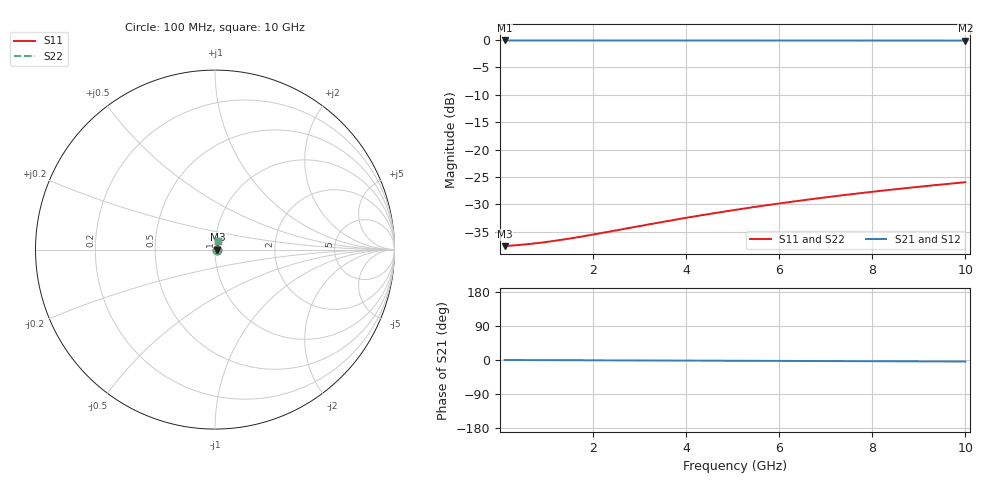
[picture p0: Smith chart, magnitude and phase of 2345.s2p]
# Hz S RI R 50.00
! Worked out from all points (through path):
!   100 points, 100 MHz to 10 GHz, reference 50 ohm
!   highest |S21| = -0.12 dB at 100 MHz (marker M1); lowest = -0.1 dB at 10 GHz (marker M2)
!   lowest |S11| = -37.6 dB at 100 MHz (marker M3), VSWR 1.03, Z = 51.3 + j0.0488 ohm
!   |S11| at or under -10 dB: start of sweep to end of sweep
!   |S22| runs from -37.6 to -26.0 dB; largest |S21 - S12| = 0
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1e8  0.0132 0.000475  0.9868 -0.000693  0.9868 -0.000693  0.0132 0.000475
5e8  0.0134 0.00237  0.9866 -0.00346  0.9866 -0.00346  0.0134 0.00237
7e8  0.0135 0.00332  0.9865 -0.00485  0.9865 -0.00485  0.0135 0.00332
9e8  0.0135 0.00427  0.9864 -0.00623  0.9864 -0.00623  0.0135 0.00427
1.1e9  0.0136 0.00522  0.9864 -0.00762  0.9864 -0.00762  0.0136 0.00522
1.3e9  0.0137 0.00617  0.9863 -0.009  0.9863 -0.009  0.0137 0.00617
1.5e9  0.0137 0.00712  0.9863 -0.0104  0.9863 -0.0104  0.0137 0.00712
1.8e9  0.0138 0.00854  0.9862 -0.0125  0.9862 -0.0125  0.0138 0.00854
2.2e9  0.0139 0.0104  0.9861 -0.0152  0.9861 -0.0152  0.0139 0.0104
3.4e9  0.0143 0.0161  0.9857 -0.0235  0.9857 -0.0235  0.0143 0.0161
3.9e9  0.0144 0.0185  0.9855 -0.027  0.9855 -0.027  0.0144 0.0185
4.3e9  0.0146 0.0204  0.9854 -0.0297  0.9854 -0.0297  0.0146 0.0204
4.7e9  0.0147 0.0223  0.9852 -0.0325  0.9852 -0.0325  0.0147 0.0223
5.1e9  0.0149 0.0242  0.985 -0.0353  0.985 -0.0353  0.0149 0.0242
5.5e9  0.0151 0.026  0.9849 -0.038  0.9849 -0.038  0.0151 0.026
5.9e9  0.0152 0.0279  0.9847 -0.0408  0.9847 -0.0408  0.0152 0.0279
6.3e9  0.0154 0.0298  0.9845 -0.0436  0.9845 -0.0436  0.0154 0.0298
6.7e9  0.0156 0.0317  0.9843 -0.0463  0.9843 -0.0463  0.0156 0.0317
7.5e9  0.016 0.0355  0.9838 -0.0518  0.9838 -0.0518  0.016 0.0355
8.4e9  0.0166 0.0397  0.9833 -0.058  0.9833 -0.058  0.0166 0.0397
9.2e9  0.0171 0.0435  0.9827 -0.0635  0.9827 -0.0635  0.0171 0.0435
1e10  0.0176 0.0472  0.9821 -0.069  0.9821 -0.069  0.0176 0.0472
